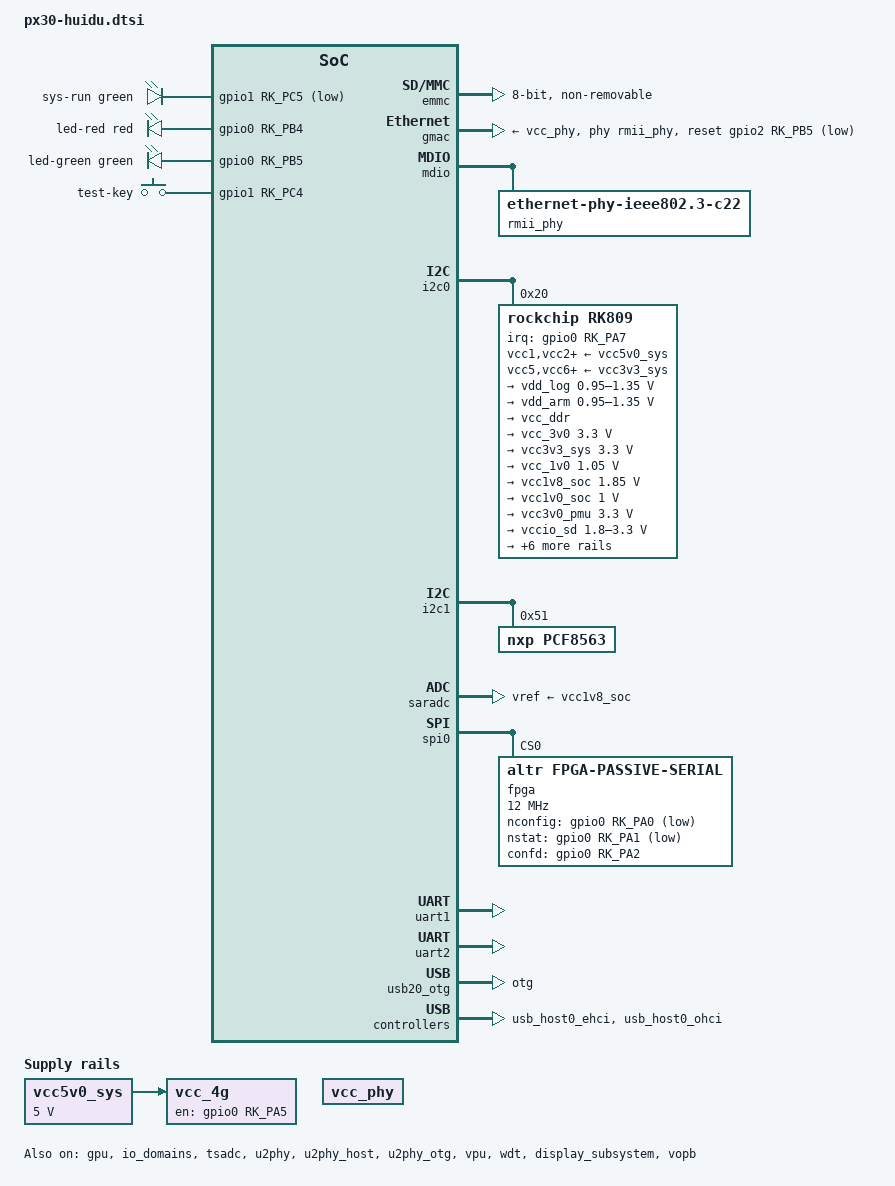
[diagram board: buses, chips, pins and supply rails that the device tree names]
// SPDX-License-Identifier: (GPL-2.0+ OR MIT)
/*
 * Huidu PX30 LED controllers (C15 / C35 / C36 / D15): common board part.
 *
 * Ported from the stock Rockchip BSP 4.4.159 DTB of the D15
 * (products/BoxPlayer/v7.11.18.0/hardware/D15_rk-kernel.dts). The C-series
 * DTBs have not been captured yet; everything here is D15-derived.
 * See README.md next to this file for the stock -> mainline mapping.
 */

#include <dt-bindings/gpio/gpio.h>
#include <dt-bindings/input/input.h>
#include <dt-bindings/interrupt-controller/irq.h>
#include <dt-bindings/leds/common.h>
#include <dt-bindings/pinctrl/rockchip.h>
/*
 * Buildroot copies custom DTS/DTSI to arch/arm64/boot/dts/ (not the rockchip/
 * subdir), so the SoC dtsi is not a sibling. Reference it through the kernel's
 * dtc include-prefixes (scripts/dtc/include-prefixes/arm64 -> arch/arm64/boot/dts).
 */
#include <arm64/rockchip/px30.dtsi>

/ {
	aliases {
		ethernet0 = &gmac;
		mmc0 = &emmc;
		rtc0 = &pcf8563;
		rtc1 = &rk809;
		serial1 = &uart1;
		serial2 = &uart2;
	};

	chosen {
		bootargs = "console=ttyS2,115200n8 earlycon=uart8250,mmio32,0xff160000 rootwait";
		stdout-path = "serial2:115200n8";
	};

	/* stock: vccsys */
	vcc5v0_sys: regulator-vcc5v0-sys {
		compatible = "regulator-fixed";
		regulator-name = "vcc5v0_sys";
		regulator-always-on;
		regulator-boot-on;
		regulator-min-microvolt = <5000000>;
		regulator-max-microvolt = <5000000>;
	};

	/* stock: vcc-phy-regulator (no voltage given in stock, no enable GPIO) */
	vcc_phy: regulator-vcc-phy {
		compatible = "regulator-fixed";
		regulator-name = "vcc_phy";
		regulator-always-on;
		regulator-boot-on;
	};

	/*
	 * stock: pcie-control (compatible "huidu,pcie-control", chardev "3g_reset").
	 * The stock driver requests GPIO0_A5 as "pcie_pwren" and drives it HIGH at
	 * probe (disassembly of the 4.4 Image); ioctls toggle it later. Modelled as
	 * the 4G modem (EC200T) power switch.
	 * TODO: drop always-on if user space needs to power-cycle the modem.
	 */
	vcc_4g: regulator-vcc-4g {
		compatible = "regulator-fixed";
		regulator-name = "vcc_4g";
		gpio = <&gpio0 RK_PA5 GPIO_ACTIVE_HIGH>;
		enable-active-high;
		pinctrl-names = "default";
		pinctrl-0 = <&modem_pwren>;
		regulator-always-on;
		regulator-boot-on;
		vin-supply = <&vcc5v0_sys>;
	};

	leds {
		compatible = "gpio-leds";

		/* stock: leds/sys_run */
		led-0 {
			label = "sys-run";
			color = <LED_COLOR_ID_GREEN>;
			function = LED_FUNCTION_HEARTBEAT;
			gpios = <&gpio1 RK_PC5 GPIO_ACTIVE_LOW>;
			linux,default-trigger = "heartbeat";
			default-state = "on";
		};

		/* stock: led-control (huidu,led-control) "led_red" */
		led-1 {
			label = "led-red";
			color = <LED_COLOR_ID_RED>;
			function = LED_FUNCTION_STATUS;
			gpios = <&gpio0 RK_PB4 GPIO_ACTIVE_HIGH>;
			default-state = "off";
		};

		/* stock: led-control (huidu,led-control) "led_green" */
		led-2 {
			label = "led-green";
			color = <LED_COLOR_ID_GREEN>;
			function = LED_FUNCTION_STATUS;
			gpios = <&gpio0 RK_PB5 GPIO_ACTIVE_HIGH>;
			default-state = "off";
		};
	};

	/* stock: key/test-key (rockchip,key), KEY 0x94 = KEY_PROG1 */
	gpio-keys {
		compatible = "gpio-keys";

		button-test {
			label = "test-key";
			linux,code = <KEY_PROG1>;
			/* TODO verify polarity: stock flag is 0 (active high) */
			gpios = <&gpio1 RK_PC4 GPIO_ACTIVE_HIGH>;
			debounce-interval = <20>;
		};
	};
};

&cpu0 {
	cpu-supply = <&vdd_arm>;
};

&cpu1 {
	cpu-supply = <&vdd_arm>;
};

&cpu2 {
	cpu-supply = <&vdd_arm>;
};

&cpu3 {
	cpu-supply = <&vdd_arm>;
};

&emmc {
	bus-width = <8>;
	cap-mmc-highspeed;
	mmc-hs200-1_8v;
	non-removable;
	/* stock declares no vmmc/vqmmc for eMMC; bootloader-configured rails */
	status = "okay";
};

&gmac {
	clock_in_out = "input";
	/* RMII 50 MHz reference comes in from the PHY/oscillator (gmac_clkin) */
	assigned-clocks = <&cru SCLK_GMAC>;
	assigned-clock-parents = <&gmac_clkin>;
	phy-handle = <&rmii_phy>;
	phy-supply = <&vcc_phy>;
	snps,reset-gpio = <&gpio2 RK_PB5 GPIO_ACTIVE_LOW>;
	snps,reset-active-low;
	snps,reset-delays-us = <0 50000 50000>;
	status = "okay";
};

&mdio {
	/*
	 * Stock has no PHY node (generic probe). No "reg" here on purpose:
	 * of_mdiobus auto-scans addresses 0..31 for a PHY without reg.
	 * TODO set reg once the PHY address is known (dmesg of stock unit).
	 */
	rmii_phy: ethernet-phy {
		compatible = "ethernet-phy-ieee802.3-c22";
	};
};

&gpu {
	mali-supply = <&vdd_log>;
	status = "okay";
};

&i2c0 {
	status = "okay";

	rk809: pmic@20 {
		compatible = "rockchip,rk809";
		reg = <0x20>;
		interrupt-parent = <&gpio0>;
		interrupts = <RK_PA7 IRQ_TYPE_LEVEL_LOW>;
		pinctrl-names = "default";
		pinctrl-0 = <&pmic_int>;
		system-power-controller;
		wakeup-source;
		#clock-cells = <1>;
		clock-output-names = "rk808-clkout1", "xin32k";

		vcc1-supply = <&vcc5v0_sys>;
		vcc2-supply = <&vcc5v0_sys>;
		vcc3-supply = <&vcc5v0_sys>;
		vcc4-supply = <&vcc5v0_sys>;
		vcc5-supply = <&vcc3v3_sys>;
		vcc6-supply = <&vcc3v3_sys>;
		vcc7-supply = <&vcc3v3_sys>;
		vcc8-supply = <&vcc3v3_sys>;
		vcc9-supply = <&vcc5v0_sys>;

		regulators {
			vdd_log: DCDC_REG1 {
				regulator-name = "vdd_logic";
				regulator-min-microvolt = <950000>;
				regulator-max-microvolt = <1350000>;
				regulator-ramp-delay = <6001>;
				regulator-initial-mode = <2>;
				regulator-always-on;
				regulator-boot-on;

				regulator-state-mem {
					regulator-on-in-suspend;
					regulator-suspend-microvolt = <950000>;
				};
			};

			vdd_arm: DCDC_REG2 {
				regulator-name = "vdd_arm";
				regulator-min-microvolt = <950000>;
				regulator-max-microvolt = <1350000>;
				regulator-ramp-delay = <6001>;
				regulator-initial-mode = <2>;
				regulator-always-on;
				regulator-boot-on;

				regulator-state-mem {
					regulator-off-in-suspend;
					regulator-suspend-microvolt = <950000>;
				};
			};

			vcc_ddr: DCDC_REG3 {
				regulator-name = "vcc_ddr";
				regulator-initial-mode = <2>;
				regulator-always-on;
				regulator-boot-on;

				regulator-state-mem {
					regulator-on-in-suspend;
				};
			};

			vcc_3v0: DCDC_REG4 {
				regulator-name = "vcc_3v0";
				regulator-min-microvolt = <3300000>;
				regulator-max-microvolt = <3300000>;
				regulator-initial-mode = <2>;
				regulator-always-on;
				regulator-boot-on;

				regulator-state-mem {
					regulator-on-in-suspend;
					regulator-suspend-microvolt = <3300000>;
				};
			};

			vcc3v3_sys: DCDC_REG5 {
				regulator-name = "vcc3v3_sys";
				regulator-min-microvolt = <3300000>;
				regulator-max-microvolt = <3300000>;
				regulator-always-on;
				regulator-boot-on;

				regulator-state-mem {
					regulator-on-in-suspend;
					regulator-suspend-microvolt = <3300000>;
				};
			};

			vcc_1v0: LDO_REG1 {
				regulator-name = "vcc_1v0";
				regulator-min-microvolt = <1050000>;
				regulator-max-microvolt = <1050000>;
				regulator-always-on;
				regulator-boot-on;

				regulator-state-mem {
					regulator-on-in-suspend;
					regulator-suspend-microvolt = <1050000>;
				};
			};

			vcc1v8_soc: LDO_REG2 {
				regulator-name = "vcc1v8_soc";
				regulator-min-microvolt = <1850000>;
				regulator-max-microvolt = <1850000>;
				regulator-always-on;
				regulator-boot-on;

				regulator-state-mem {
					regulator-on-in-suspend;
					regulator-suspend-microvolt = <1850000>;
				};
			};

			vcc1v0_soc: LDO_REG3 {
				regulator-name = "vcc1v0_soc";
				regulator-min-microvolt = <1000000>;
				regulator-max-microvolt = <1000000>;
				regulator-always-on;
				regulator-boot-on;

				regulator-state-mem {
					regulator-on-in-suspend;
					regulator-suspend-microvolt = <1000000>;
				};
			};

			vcc3v0_pmu: LDO_REG4 {
				regulator-name = "vcc3v0_pmu";
				regulator-min-microvolt = <3300000>;
				regulator-max-microvolt = <3300000>;
				regulator-always-on;
				regulator-boot-on;

				regulator-state-mem {
					regulator-on-in-suspend;
					regulator-suspend-microvolt = <3300000>;
				};
			};

			vccio_sd: LDO_REG5 {
				regulator-name = "vccio_sd";
				regulator-min-microvolt = <1800000>;
				regulator-max-microvolt = <3300000>;
				regulator-always-on;
				regulator-boot-on;

				regulator-state-mem {
					regulator-on-in-suspend;
					regulator-suspend-microvolt = <3300000>;
				};
			};

			vcc_sd: LDO_REG6 {
				regulator-name = "vcc_sd";
				regulator-min-microvolt = <3300000>;
				regulator-max-microvolt = <3300000>;

				regulator-state-mem {
					regulator-on-in-suspend;
					regulator-suspend-microvolt = <3300000>;
				};
			};

			vcc2v8_dvp: LDO_REG7 {
				regulator-name = "vcc2v8_dvp";
				regulator-min-microvolt = <2500000>;
				regulator-max-microvolt = <2500000>;
				regulator-always-on;
				regulator-boot-on;

				regulator-state-mem {
					regulator-off-in-suspend;
					regulator-suspend-microvolt = <2500000>;
				};
			};

			vcc1v8_dvp: LDO_REG8 {
				regulator-name = "vcc1v8_dvp";
				regulator-min-microvolt = <1200000>;
				regulator-max-microvolt = <1200000>;
				regulator-always-on;
				regulator-boot-on;

				regulator-state-mem {
					regulator-on-in-suspend;
					regulator-suspend-microvolt = <1200000>;
				};
			};

			vdd1v5_dvp: LDO_REG9 {
				regulator-name = "vdd1v5_dvp";
				regulator-min-microvolt = <1200000>;
				regulator-max-microvolt = <1200000>;
				regulator-always-on;
				regulator-boot-on;

				regulator-state-mem {
					regulator-off-in-suspend;
					regulator-suspend-microvolt = <1200000>;
				};
			};

			vcc3v3_lcd: SWITCH_REG1 {
				regulator-name = "vcc3v3_lcd";
				regulator-boot-on;
			};

			vcc5v0_host: SWITCH_REG2 {
				regulator-name = "vcc5v0_host";
				regulator-always-on;
				regulator-boot-on;
			};
		};
	};
};

&i2c1 {
	status = "okay";

	pcf8563: rtc@51 {
		compatible = "nxp,pcf8563";
		reg = <0x51>;
	};
};

/* stock: grf/io-domains. Stock sets no vccio6 (flash) supply: left to the bootloader. */
&io_domains {
	vccio1-supply = <&vcc1v8_soc>;
	vccio2-supply = <&vccio_sd>;
	vccio3-supply = <&vcc_3v0>;
	vccio4-supply = <&vcc3v0_pmu>;
	vccio5-supply = <&vcc_3v0>;
	status = "okay";
};

&pmu_io_domains {
	pmuio1-supply = <&vcc3v0_pmu>;
	pmuio2-supply = <&vcc3v0_pmu>;
	status = "okay";
};

&pinctrl {
	modem {
		modem_pwren: modem-pwren {
			rockchip,pins = <0 RK_PA5 RK_FUNC_GPIO &pcfg_pull_none>;
		};
	};

	fpga {
		fpga_ctrl_pins: fpga-ctrl-pins {
			rockchip,pins =
				<0 RK_PA0 RK_FUNC_GPIO &pcfg_pull_none>,
				<0 RK_PA1 RK_FUNC_GPIO &pcfg_pull_none>,
				<0 RK_PA2 RK_FUNC_GPIO &pcfg_pull_none>;
		};
	};

	pmic {
		pmic_int: pmic-int {
			rockchip,pins = <0 RK_PA7 RK_FUNC_GPIO &pcfg_pull_up>;
		};
	};
};

&saradc {
	/* ch0 = board revision resistor strap (read by libCore) */
	vref-supply = <&vcc1v8_soc>;
	status = "okay";
};

&spi0 {
	status = "okay";

	/*
	 * Stock: spi_cyclone4@00 { compatible = "huidu,spi_bus0_cs0"; 12 MHz;
	 *   gpios = <GPIO0_A0 0>, <GPIO0_A1 0>, <GPIO0_A2 0>; } driven by the
	 * out-of-tree drivers/char/cyclone4.c (/dev/cyclone4). Its probe does
	 *   of_get_named_gpio(np, "gpios", 2) -> "io_conf_done"
	 *   of_get_named_gpio(np, "gpios", 0) -> "io_nconfig"
	 *   of_get_named_gpio(np, "gpios", 1) -> "io_nstatus"
	 * then drives nCONFIG output-high (idle) and makes the other two inputs.
	 * So: A0 = nCONFIG, A1 = nSTATUS, A2 = CONF_DONE (raw levels, no inversion).
	 * nCONFIG/nSTATUS are active-low per the Altera PS protocol.
	 * TODO verify pin roles on hardware; the Huidu fpga.img is not a plain
	 * RBF (8-byte header, sync CC 55 AA 33), so this driver may not be able
	 * to load it as-is (bit order / header) - see README.md.
	 */
	fpga@0 {
		compatible = "altr,fpga-passive-serial";
		reg = <0>;
		spi-max-frequency = <12000000>;
		pinctrl-names = "default";
		pinctrl-0 = <&fpga_ctrl_pins>;
		nconfig-gpios = <&gpio0 RK_PA0 GPIO_ACTIVE_LOW>;
		nstat-gpios = <&gpio0 RK_PA1 GPIO_ACTIVE_LOW>;
		confd-gpios = <&gpio0 RK_PA2 GPIO_ACTIVE_HIGH>;
	};
};

&tsadc {
	status = "okay";
};

&u2phy {
	status = "okay";
};

&u2phy_host {
	phy-supply = <&vcc5v0_host>;
	status = "okay";
};

&u2phy_otg {
	status = "okay";
};

/* FPGA control/status link, /dev/ttyS1, 115200 8N1 (stock pinctrl: xfer + cts) */
&uart1 {
	pinctrl-names = "default";
	pinctrl-0 = <&uart1_xfer &uart1_cts>;
	status = "okay";
};

/* Debug console, uart2m0 on GPIO1_D2/D3 (stock: fiq-debugger ttyFIQ0) */
&uart2 {
	pinctrl-names = "default";
	pinctrl-0 = <&uart2m0_xfer>;
	status = "okay";
};

&usb20_otg {
	dr_mode = "otg";
	status = "okay";
};

/* rtl8188eu Wi-Fi and Quectel EC200T 4G hang off the host port */
&usb_host0_ehci {
	status = "okay";
};

&usb_host0_ohci {
	status = "okay";
};

/* Hantro G1/H1 (stock vpu_service + vpu_combo) */
&vpu {
	status = "okay";
};

&vpu_mmu {
	status = "okay";
};

&wdt {
	status = "okay";
};

/*
 * Display path (VOPB -> internal RGB -> panel-dpi -> FPGA) is completed in
 * the per-model .dts; the shared parts live here.
 */
&display_subsystem {
	status = "okay";
};

&vopb {
	/* RGB888 m0 pins: stock rgb node pinctrl (dclk, den, hsync, vsync, data) */
	pinctrl-names = "default";
	pinctrl-0 = <&lcdc_rgb_dclk_pin &lcdc_rgb_m0_den_pin
		     &lcdc_rgb_m0_hsync_pin &lcdc_rgb_m0_vsync_pin
		     &lcdc_rgb888_m0_data_pins>;
	status = "okay";
};

&vopb_mmu {
	status = "okay";
};
